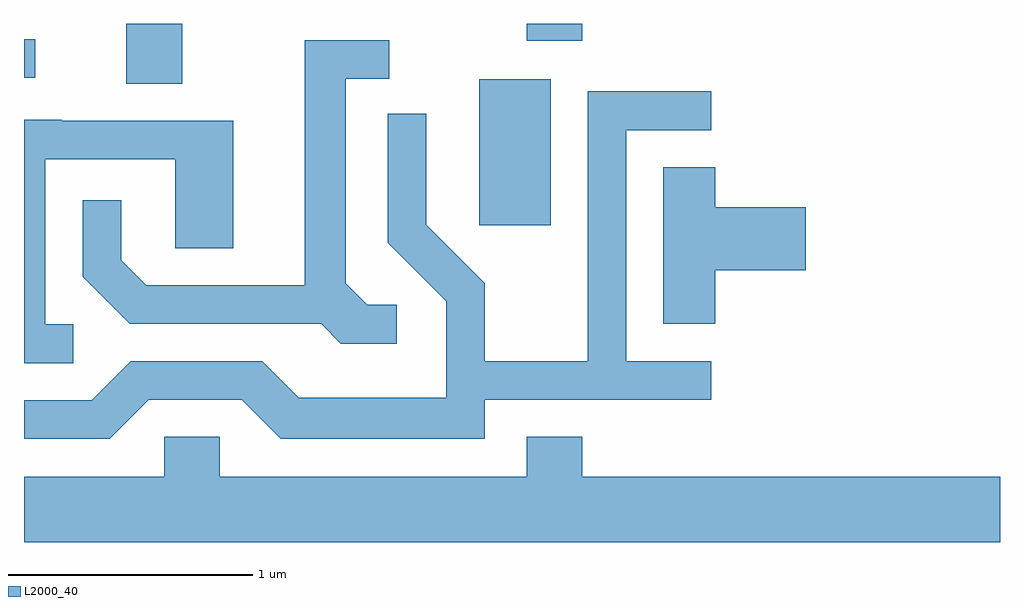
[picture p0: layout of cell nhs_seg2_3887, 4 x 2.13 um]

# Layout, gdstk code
import gdstk
lib = gdstk.Library(unit=1e-6, precision=1e-09)
def R(c, l, rs):  # rectangles x0, y0, x1, y1
    for r in rs: c.add(gdstk.rectangle(r[:2], r[2:], *l))
def P(c, l, *ps):  # polygons
    for p in ps: c.add(gdstk.Polygon(p, *l))
L2000_40 = (2000, 40)

nhs_seg2_3887 = lib.new_cell('nhs_seg2_3887')
R(nhs_seg2_3887, L2000_40, [(301.476,1022.976,301.769,1023.574), (300.031,1023.556,300.259,1023.802), (299.611,1023.581,299.658,1023.739), (301.671,1023.731,301.899,1023.802)])
P(nhs_seg2_3887, L2000_40, [(301.138,1022.649),(301.017,1022.649),(300.929,1022.737),(300.929,1023.576),(301.108,1023.576),(301.108,1023.734),(300.761,1023.734),(300.761,1022.729),(300.112,1022.729),(300.009,1022.832),(300.009,1023.078),(299.851,1023.078),(299.851,1022.764),(300.044,1022.571),(300.829,1022.571),(300.909,1022.491),(301.138,1022.491)],
  [(300.122,1022.261),(300.504,1022.261),(300.664,1022.101),(301.499,1022.101),(301.499,1022.261),(302.428,1022.261),(302.428,1022.419),(302.079,1022.419),(302.079,1023.366),(302.428,1023.366),(302.428,1023.524),(301.921,1023.524),(301.921,1022.419),(301.499,1022.419),(301.499,1022.737),(301.259,1022.977),(301.259,1023.433),(301.101,1023.433),(301.101,1022.904),(301.341,1022.664),(301.341,1022.269),(300.737,1022.269),(300.587,1022.419),(300.049,1022.419),(299.889,1022.259),(299.611,1022.259),(299.611,1022.101),(299.962,1022.101)],
  [(299.813,1022.569),(299.699,1022.569),(299.699,1023.246),(300.231,1023.246),(300.231,1022.881),(300.469,1022.881),(300.469,1023.404),(299.765,1023.404),(299.765,1023.409),(299.611,1023.409),(299.611,1022.411),(299.813,1022.411)],
  [(302.444,1022.791),(302.814,1022.791),(302.814,1023.049),(302.444,1023.049),(302.444,1023.214),(302.231,1023.214),(302.231,1022.571),(302.444,1022.571)],
  [(303.611,1021.944),(301.899,1021.944),(301.899,1022.109),(301.671,1022.109),(301.671,1021.944),(300.414,1021.944),(300.414,1022.109),(300.186,1022.109),(300.186,1021.944),(299.611,1021.944),(299.611,1021.676),(303.611,1021.676)])

lib.write_gds('nhs_seg2_3887.gds')
